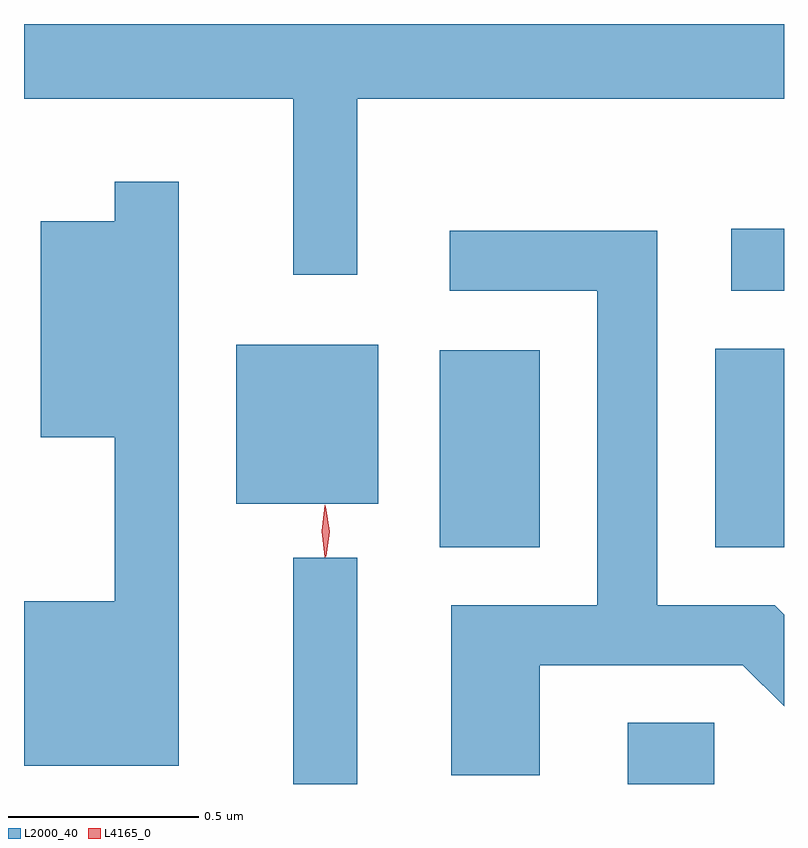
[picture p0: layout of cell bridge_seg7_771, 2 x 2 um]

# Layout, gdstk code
import gdstk
lib = gdstk.Library(unit=1e-6, precision=1e-09)
def R(c, l, rs):  # rectangles x0, y0, x1, y1
    for r in rs: c.add(gdstk.rectangle(r[:2], r[2:], *l))
def P(c, l, *ps):  # polygons
    for p in ps: c.add(gdstk.Polygon(p, *l))
L2000_40 = (2000, 40)
L4165_0 = (4165, 0)

bridge_seg7_771 = lib.new_cell('bridge_seg7_771')
R(bridge_seg7_771, L2000_40, [(471.311,1750.253,471.479,1750.848), (472.191,1750.253,472.419,1750.414), (471.696,1750.876,471.959,1751.394), (472.421,1750.876,472.602,1751.399), (471.161,1750.991,471.534,1751.409), (472.463,1751.551,472.602,1751.714)])
P(bridge_seg7_771, L2000_40, [(471.479,1752.056),(472.602,1752.056),(472.602,1752.253),(470.602,1752.253),(470.602,1752.056),(471.311,1752.056),(471.311,1751.593),(471.479,1751.593)],
  [(471.009,1751.838),(470.841,1751.838),(470.841,1751.734),(470.646,1751.734),(470.646,1751.166),(470.841,1751.166),(470.841,1750.734),(470.602,1750.734),(470.602,1750.301),(471.009,1750.301)],
  [(471.959,1750.566),(472.494,1750.566),(472.602,1750.458),(472.602,1750.699),(472.577,1750.724),(472.269,1750.724),(472.269,1751.709),(471.723,1751.709),(471.723,1751.551),(472.111,1751.551),(472.111,1750.724),(471.726,1750.724),(471.726,1750.276),(471.959,1750.276)])
P(bridge_seg7_771, L4165_0, [(471.394,1750.85),(471.385,1750.918),(471.394,1750.986),(471.395,1750.986),(471.395,1750.986),(471.405,1750.918),(471.395,1750.85),(471.395,1750.85)],
  [(471.396,1750.853),(471.386,1750.917),(471.396,1750.982),(471.396,1750.982),(471.396,1750.982),(471.406,1750.917),(471.397,1750.853),(471.397,1750.853)])

lib.write_gds('bridge_seg7_771.gds')
